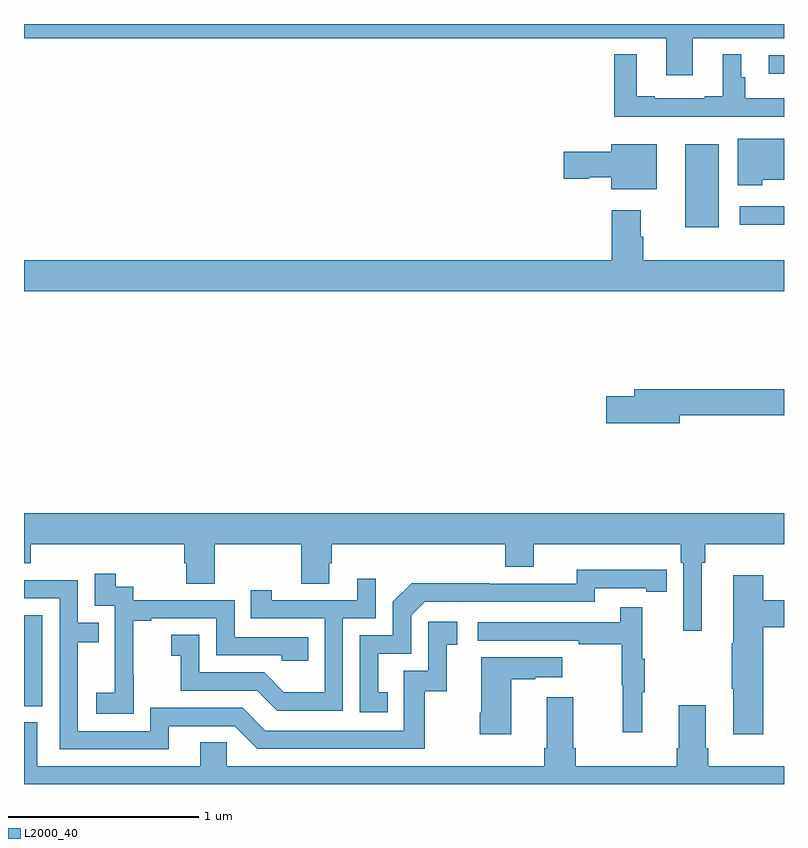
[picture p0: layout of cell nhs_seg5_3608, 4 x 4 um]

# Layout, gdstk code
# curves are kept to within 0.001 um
import gdstk
lib = gdstk.Library(unit=1e-6, precision=1e-09)
def R(c, l, rs):  # rectangles x0, y0, x1, y1
    for r in rs: c.add(gdstk.rectangle(r[:2], r[2:], *l))
def P(c, l, *ps):  # polygons
    for p in ps: c.add(gdstk.Polygon(p, *l))
L2000_40 = (2000, 40)

nhs_seg5_3608 = lib.new_cell('nhs_seg5_3608')
R(nhs_seg5_3608, L2000_40, [(326.48,891.728,326.656,892.165), (326.766,891.743,327,891.841), (326.919,892.538,327,892.635)])
P(nhs_seg5_3608, L2000_40, [(323,892.724),(326.381,892.724),(326.381,892.53),(326.521,892.53),(326.521,892.724),(327,892.724),(327,892.799),(323,892.799)],
  [(326.652,892.311),(327,892.311),(327,892.408),(326.795,892.408),(326.795,892.518),(326.776,892.518),(326.776,892.639),(326.678,892.639),(326.678,892.42),(326.582,892.42),(326.582,892.407),(326.32,892.407),(326.32,892.42),(326.224,892.42),(326.224,892.639),(326.107,892.639),(326.107,892.31),(326.652,892.31)],
  [(326.886,891.98),(327,891.98),(327,892.195),(326.756,892.195),(326.756,891.95),(326.886,891.95)],
  [(326.329,892.165),(326.09,892.165),(326.09,892.127),(325.842,892.127),(325.842,891.985),(325.974,891.985),(325.974,891.992),(326.09,891.992),(326.09,891.929),(326.329,891.929)],
  [(327,891.556),(326.258,891.556),(326.258,891.68),(326.245,891.68),(326.245,891.82),(326.093,891.82),(326.093,891.556),(323,891.556),(323,891.392),(327,891.392)],
  [(326.452,890.74),(327,890.74),(327,890.876),(326.213,890.876),(326.213,890.84),(326.064,890.84),(326.064,890.698),(326.452,890.698)],
  [(323,889.961),(323.036,889.961),(323.036,890.06),(323.843,890.06),(323.843,889.962),(323.855,889.962),(323.855,889.852),(324.003,889.852),(324.003,890.06),(324.46,890.06),(324.46,889.852),(324.607,889.852),(324.607,889.962),(324.62,889.962),(324.62,890.06),(325.532,890.06),(325.532,889.943),(325.684,889.943),(325.684,890.06),(326.456,890.06),(326.456,889.964),(326.469,889.964),(326.469,889.605),(326.566,889.605),(326.566,889.964),(326.585,889.964),(326.585,890.06),(327,890.06),(327,890.224),(323,890.224)],
  [(324.914,889.281),(324.865,889.281),(324.865,889.485),(325.038,889.485),(325.038,889.686),(325.11,889.758),(326.004,889.758),(326.004,889.83),(326.276,889.83),(326.276,889.81),(326.384,889.81),(326.384,889.926),(325.908,889.927),(325.908,889.854),(325.448,889.854),(325.448,889.856),(325.04,889.856),(324.942,889.758),(324.942,889.581),(324.768,889.581),(324.768,889.176),(324.914,889.176)],
  [(323.577,889.375),(323.576,889.375),(323.576,889.659),(323.671,889.659),(323.671,889.671),(324.012,889.671),(324.012,889.476),(324.357,889.476),(324.357,889.449),(324.497,889.449),(324.497,889.572),(324.108,889.572),(324.108,889.767),(323.574,889.767),(323.574,889.836),(323.482,889.836),(323.482,889.906),(323.373,889.906),(323.373,889.737),(323.478,889.737),(323.478,889.508),(323.477,889.508),(323.477,889.279),(323.379,889.279),(323.379,889.169),(323.577,889.169)],
  [(326.891,889.625),(327,889.625),(327,889.767),(326.891,889.767),(326.891,889.897),(326.732,889.897),(326.732,889.541),(326.725,889.541),(326.725,889.3),(326.732,889.3),(326.732,889.062),(326.891,889.062)],
  [(324.678,889.671),(324.852,889.671),(324.852,889.879),(324.755,889.879),(324.755,889.767),(324.304,889.767),(324.304,889.819),(324.193,889.819),(324.193,889.671),(324.582,889.671),(324.582,889.282),(324.368,889.282),(324.264,889.386),(323.922,889.386),(323.922,889.585),(323.775,889.585),(323.775,889.475),(323.824,889.475),(323.824,889.29),(324.227,889.29),(324.332,889.185),(324.678,889.185)],
  [(323.761,889.104),(324.108,889.104),(324.228,888.984),(325.108,888.984),(325.108,889.287),(325.226,889.287),(325.226,889.533),(325.279,889.533),(325.279,889.654),(325.128,889.654),(325.128,889.395),(324.999,889.395),(324.999,889.08),(324.27,889.08),(324.15,889.2),(323.664,889.2),(323.664,889.077),(323.283,889.077),(323.283,889.546),(323.393,889.546),(323.393,889.647),(323.283,889.647),(323.283,889.872),(323,889.872),(323,889.776),(323.187,889.776),(323.187,888.981),(323.761,888.981)],
  [(326.255,889.283),(326.266,889.283),(326.266,889.457),(326.255,889.457),(326.255,889.729),(326.137,889.729),(326.137,889.65),(325.389,889.65),(325.389,889.554),(325.921,889.554),(325.921,889.534),(326.145,889.534),(326.145,889.32),(326.152,889.32),(326.152,889.071),(326.255,889.071)],
  [(323.097,889.686),(323,889.686),(323,889.59),(323.001,889.59),(323.001,889.305),(323,889.305),(323,889.209),(323.097,889.209)],
  [(325.564,889.351),(325.691,889.351),(325.691,889.361),(325.834,889.361),(325.834,889.465),(325.406,889.465),(325.406,889.174),(325.399,889.174),(325.399,889.062),(325.564,889.062)],
  [(327,888.892),(326.6,888.892),(326.6,888.988),(326.587,888.988),(326.587,889.213),(326.447,889.213),(326.447,888.988),(326.435,888.988),(326.435,888.892),(325.904,888.892),(325.904,888.988),(325.891,888.988),(325.891,889.255),(325.751,889.255),(325.751,888.988),(325.739,888.988),(325.739,888.892),(324.066,888.892),(324.066,889.019),(323.927,889.019),(323.927,888.892),(323.071,888.892),(323.071,889.124),(323,889.124),(323,888.799),(327,888.799)])

lib.write_gds('nhs_seg5_3608.gds')
